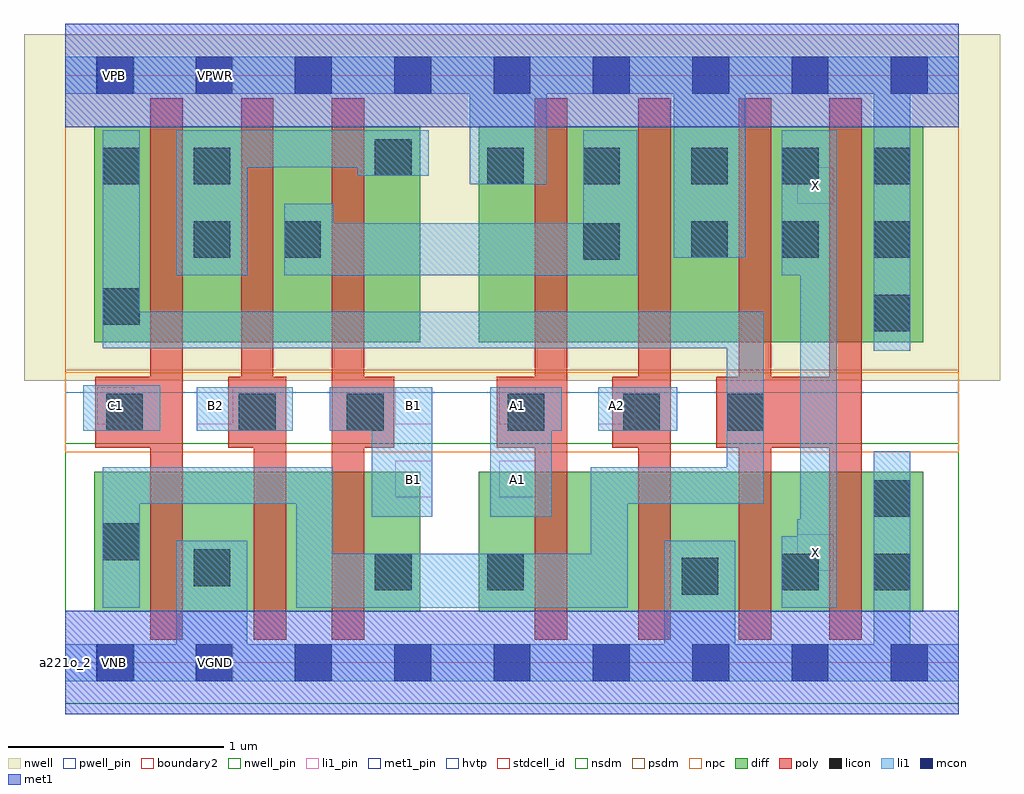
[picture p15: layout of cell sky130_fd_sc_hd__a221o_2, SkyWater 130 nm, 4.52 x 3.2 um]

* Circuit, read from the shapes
.subckt sky130_fd_sc_hd__a221o_2 A1 A2 B1 B2 C1 VGND VNB VPB VPWR X
XM1 VGND C1 n1 VNB sky130_fd_pr__nfet_01v8 w=0.65 l=0.15
XM2 n2 B2 VGND VNB sky130_fd_pr__nfet_01v8 w=0.65 l=0.15
XM3 n1 B1 n2 VNB sky130_fd_pr__nfet_01v8 w=0.65 l=0.15
XM4 n3 A1 n1 VNB sky130_fd_pr__nfet_01v8 w=0.65 l=0.15
XM5 VGND A2 n3 VNB sky130_fd_pr__nfet_01v8 w=0.65 l=0.15
XM6 X n1 VGND VNB sky130_fd_pr__nfet_01v8 w=0.65 l=0.15 m=2
XM7 n4 C1 n1 VPB sky130_fd_pr__pfet_01v8_hvt w=1 l=0.15
XM8 n5 B2 n4 VPB sky130_fd_pr__pfet_01v8_hvt w=1 l=0.15
XM9 n4 B1 n5 VPB sky130_fd_pr__pfet_01v8_hvt w=1 l=0.15
XM10 n5 A1 VPWR VPB sky130_fd_pr__pfet_01v8_hvt w=1 l=0.15
XM11 VPWR A2 n5 VPB sky130_fd_pr__pfet_01v8_hvt w=1 l=0.15
XM12 X n1 VPWR VPB sky130_fd_pr__pfet_01v8_hvt w=1 l=0.15 m=2
.ends

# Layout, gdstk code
import gdstk
lib = gdstk.Library(unit=1e-6, precision=1e-09)
def R(c, l, rs):  # rectangles x0, y0, x1, y1
    for r in rs: c.add(gdstk.rectangle(r[:2], r[2:], *l))
def A(c, l, x, y, w, h, nx, ny, dx, dy):  # array of equal rectangles
    R(c, l, [(x+i*dx, y+j*dy, x+i*dx+w, y+j*dy+h) for i in range(nx) for j in range(ny)])
def P(c, l, *ps):  # polygons
    for p in ps: c.add(gdstk.Polygon(p, *l))
nwell_pin = (64, 16)
nwell = (64, 20)
diff = (65, 20)
poly = (66, 20)
licon = (66, 44)
li1_pin = (67, 16)
li1 = (67, 20)
mcon = (67, 44)
met1_pin = (68, 16)
met1 = (68, 20)
hvtp = (78, 44)
stdcell_id = (81, 4)
nsdm = (93, 44)
psdm = (94, 20)
npc = (95, 20)
pwell_pin = (122, 16)
boundary2 = (236, 0)

sky130_fd_sc_hd__a221o_2 = lib.new_cell('sky130_fd_sc_hd__a221o_2')
R(sky130_fd_sc_hd__a221o_2, nwell_pin, [(0.15,2.635,0.32,2.805)])
R(sky130_fd_sc_hd__a221o_2, nwell, [(-0.19,1.305,4.33,2.91)])
R(sky130_fd_sc_hd__a221o_2, diff, [(0.135,0.235,1.645,0.885), (1.915,0.235,3.975,0.885), (0.135,1.485,1.645,2.485), (1.915,1.485,3.975,2.485)])
P(sky130_fd_sc_hd__a221o_2, poly, [(3.69,2.615),(3.54,2.615),(3.54,1.325),(3.27,1.325),(3.27,2.615),(3.12,2.615),(3.12,1.325),(3.015,1.325),(3.015,0.995),(3.12,0.995),(3.12,0.105),(3.27,0.105),(3.27,0.995),(3.54,0.995),(3.54,0.105),(3.69,0.105)],
  [(2.805,2.615),(2.655,2.615),(2.655,1.325),(2.535,1.325),(2.535,0.995),(2.655,0.995),(2.655,0.105),(2.805,0.105)],
  [(2.325,2.615),(2.175,2.615),(2.175,1.325),(2,1.325),(2,0.995),(2.175,0.995),(2.175,0.105),(2.325,0.105)],
  [(1.525,1.325),(1.385,1.325),(1.385,2.615),(1.235,2.615),(1.235,0.105),(1.385,0.105),(1.385,0.995),(1.525,0.995)],
  [(1.025,1.325),(0.965,1.325),(0.965,2.615),(0.815,2.615),(0.815,1.325),(0.755,1.325),(0.755,0.995),(0.875,0.995),(0.875,0.105),(1.025,0.105)],
  [(0.545,2.615),(0.395,2.615),(0.395,1.325),(0.14,1.325),(0.14,0.995),(0.395,0.995),(0.395,0.105),(0.545,0.105)])
A(sky130_fd_sc_hd__a221o_2, licon, 3.745, 1.535, 0.17, 0.17, 1, 3, 0, 0.34)
R(sky130_fd_sc_hd__a221o_2, licon, [(2.855,0.315,3.025,0.485), (1.435,0.335,1.605,0.505), (1.955,0.335,2.125,0.505), (3.32,0.335,3.49,0.505), (3.745,0.335,3.915,0.505), (0.595,0.355,0.765,0.525), (0.175,0.475,0.345,0.645), (3.745,0.675,3.915,0.845), (0.19,1.075,0.36,1.245), (0.805,1.075,0.975,1.245), (1.305,1.075,1.475,1.245), (2.05,1.075,2.22,1.245), (2.585,1.075,2.755,1.245), (3.065,1.075,3.235,1.245), (0.175,1.565,0.345,1.735), (2.4,1.865,2.57,2.035), (0.595,1.875,0.765,2.045), (1.015,1.875,1.185,2.045), (2.9,1.875,3.07,2.045), (3.32,1.875,3.49,2.045), (0.175,2.215,0.345,2.385), (0.595,2.215,0.765,2.385), (1.955,2.215,2.125,2.385), (2.4,2.215,2.57,2.385), (2.9,2.215,3.07,2.385), (3.32,2.215,3.49,2.385), (1.435,2.255,1.605,2.425)])
R(sky130_fd_sc_hd__a221o_2, li1_pin, [(0.61,-0.085,0.78,0.085), (3.39,0.425,3.56,0.595), (1.53,0.765,1.7,0.935), (2.01,0.765,2.18,0.935), (0.15,1.105,0.32,1.275), (0.61,1.105,0.78,1.275), (1.53,1.105,1.7,1.275), (2.01,1.105,2.18,1.275), (2.47,1.105,2.64,1.275), (3.39,2.125,3.56,2.295), (0.61,2.635,0.78,2.805)])
R(sky130_fd_sc_hd__a221o_2, li1, [(0.085,1.075,0.44,1.285), (0.61,1.075,1.055,1.275), (2.47,1.075,2.835,1.275)])
P(sky130_fd_sc_hd__a221o_2, li1, [(3.235,1.625),(0.345,1.625),(0.345,2.465),(0.175,2.465),(0.175,1.455),(3.065,1.455),(3.065,0.905),(2.435,0.905),(2.435,0.505),(1.24,0.505),(1.24,0.905),(0.175,0.905),(0.175,0.255),(0.345,0.255),(0.345,0.735),(1.07,0.735),(1.07,0.255),(2.605,0.255),(2.605,0.735),(3.235,0.735)],
  [(2.65,2.465),(2.4,2.465),(2.4,2.035),(1.245,2.035),(1.245,2.125),(1.015,2.125),(1.015,1.795),(2.65,1.795)],
  [(1.685,2.465),(0.515,2.465),(0.515,1.795),(0.845,1.795),(0.845,2.295),(1.355,2.295),(1.355,2.255),(1.685,2.255)],
  [(4.14,0.085),(3.915,0.085),(3.915,0.98),(3.745,0.98),(3.745,0.085),(3.105,0.085),(3.105,0.565),(2.775,0.565),(2.775,0.085),(0.845,0.085),(0.845,0.565),(0.515,0.565),(0.515,0.085),(0,0.085),(0,-0.085),(4.14,-0.085)],
  [(4.14,2.805),(0,2.805),(0,2.635),(1.875,2.635),(1.875,2.215),(2.23,2.215),(2.23,2.635),(2.82,2.635),(2.82,1.875),(3.15,1.875),(3.15,2.635),(3.745,2.635),(3.745,1.445),(3.915,1.445),(3.915,2.635),(4.14,2.635)],
  [(3.575,2.465),(3.32,2.465),(3.32,1.795),(3.405,1.795),(3.405,0.665),(3.39,0.665),(3.39,0.585),(3.32,0.585),(3.32,0.255),(3.575,0.255)],
  [(2.3,1.275),(1.97,1.275),(1.97,0.675),(2.255,0.675),(2.255,1.075),(2.3,1.075)],
  [(1.7,1.275),(1.225,1.275),(1.225,1.075),(1.42,1.075),(1.42,0.675),(1.7,0.675)])
A(sky130_fd_sc_hd__a221o_2, mcon, 0.145, -0.085, 0.17, 0.17, 9, 2, 0.46, 2.72)
R(sky130_fd_sc_hd__a221o_2, met1_pin, [(0.15,-0.085,0.32,0.085), (0.15,2.635,0.32,2.805)])
R(sky130_fd_sc_hd__a221o_2, hvtp, [(0,1.25,4.14,2.72)])
R(sky130_fd_sc_hd__a221o_2, stdcell_id, [(0,0,4.14,2.72)])
R(sky130_fd_sc_hd__a221o_2, nsdm, [(0,-0.19,4.14,1.015)])
R(sky130_fd_sc_hd__a221o_2, psdm, [(0,1.355,4.14,2.91)])
R(sky130_fd_sc_hd__a221o_2, npc, [(0,0.975,4.14,1.345)])
R(sky130_fd_sc_hd__a221o_2, pwell_pin, [(0.15,-0.085,0.32,0.085)])
R(sky130_fd_sc_hd__a221o_2, boundary2, [(0,0,4.14,2.72)])
sky130_fd_sc_hd__a221o_2.add(gdstk.FlexPath([(0,2.72),(4.14,2.72)], 0.48, ends="flush", simple_path=True, layer=68, datatype=20))  # met1
sky130_fd_sc_hd__a221o_2.add(gdstk.FlexPath([(0,0),(4.14,0)], 0.48, ends="flush", simple_path=True, layer=68, datatype=20))  # met1
sky130_fd_sc_hd__a221o_2.add(gdstk.Label('a221o_2', (0,0), layer=83, texttype=44))
sky130_fd_sc_hd__a221o_2.add(gdstk.Label('VNB', (0.23,0), layer=64, texttype=59))
sky130_fd_sc_hd__a221o_2.add(gdstk.Label('VPB', (0.23,2.72), layer=64, texttype=5))
sky130_fd_sc_hd__a221o_2.add(gdstk.Label('VGND', (0.23,0), layer=68, texttype=5))
sky130_fd_sc_hd__a221o_2.add(gdstk.Label('VPWR', (0.23,2.72), layer=68, texttype=5))
sky130_fd_sc_hd__a221o_2.add(gdstk.Label('C1', (0.235,1.19), layer=67, texttype=5))
sky130_fd_sc_hd__a221o_2.add(gdstk.Label('VPWR', (0.695,2.72), layer=67, texttype=5))
sky130_fd_sc_hd__a221o_2.add(gdstk.Label('VGND', (0.695,0), layer=67, texttype=5))
sky130_fd_sc_hd__a221o_2.add(gdstk.Label('A1', (2.095,1.19), layer=67, texttype=5))
sky130_fd_sc_hd__a221o_2.add(gdstk.Label('A2', (2.555,1.19), layer=67, texttype=5))
sky130_fd_sc_hd__a221o_2.add(gdstk.Label('X', (3.475,2.21), layer=67, texttype=5))
sky130_fd_sc_hd__a221o_2.add(gdstk.Label('B2', (0.695,1.19), layer=67, texttype=5))
sky130_fd_sc_hd__a221o_2.add(gdstk.Label('B1', (1.615,1.19), layer=67, texttype=5))
sky130_fd_sc_hd__a221o_2.add(gdstk.Label('A1', (2.095,0.85), layer=67, texttype=5))
sky130_fd_sc_hd__a221o_2.add(gdstk.Label('B1', (1.615,0.85), layer=67, texttype=5))
sky130_fd_sc_hd__a221o_2.add(gdstk.Label('X', (3.475,0.51), layer=67, texttype=5))

lib.write_gds('sky130_fd_sc_hd__a221o_2.gds')
